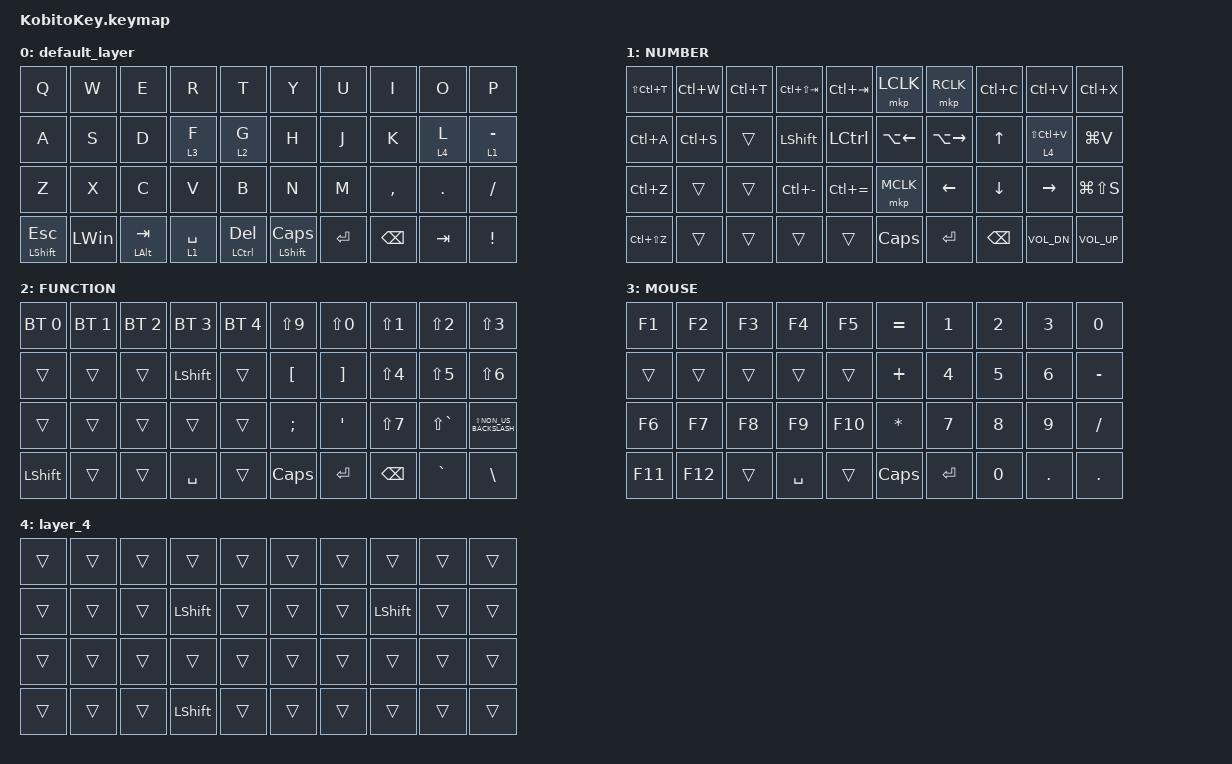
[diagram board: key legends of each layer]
#include <input/processors.dtsi>
#include <behaviors.dtsi>
#include <dt-bindings/zmk/bt.h>
#include <dt-bindings/zmk/keys.h>
#include <dt-bindings/zmk/pointing.h>

/ {
    combos {
        compatible = "zmk,combos";

        combo_eisu {
            timeout-ms = <50>;
            key-positions = <12 13>;
            bindings = <&kp LANG2>;
        };

        combo_kana {
            timeout-ms = <50>;
            key-positions = <16 17>;
            bindings = <&kp LANG1>;
        };

        combo_esc {
            timeout-ms = <50>;
            key-positions = <0 1>;
            bindings = <&kp ESC>;
        };

        combo_tab {
            timeout-ms = <50>;
            key-positions = <10 11>;
            bindings = <&kp TAB>;
        };
    };

    keymap {
        compatible = "zmk,keymap";

        default_layer {
            bindings = <
&kp Q                  &kp W         &kp E             &kp R        &kp T          &kp Y                    &kp U      &kp I          &kp O    &kp P
&kp A                  &kp S         &kp D             &lt 3 F      &lt 2 G        &kp H                    &kp J      &kp K          &lt 4 L  &lt 1 MINUS
&kp Z                  &kp X         &kp C             &kp V        &kp B          &kp N                    &kp M      &kp COMMA      &kp DOT  &kp SLASH
&mt LEFT_SHIFT ESCAPE  &kp LEFT_WIN  &mt LEFT_ALT TAB  &lt 1 SPACE  &mt LCTRL DEL  &mt LEFT_SHIFT CAPSLOCK  &kp ENTER  &kp BACKSPACE  &kp TAB  &kp EXCLAMATION
            >;
        };

        layer1 {
            label = "NUMBER";
            bindings = <
&kp LS(LC(T))  &kp LC(W)  &kp LC(T)  &kp LC(LS(TAB))  &kp LC(TAB)    &mkp LCLK           &mkp RCLK            &kp LC(C)      &kp LC(V)        &kp LC(X)
&kp LC(A)      &kp LC(S)  &trans     &kp LEFT_SHIFT   &kp LCTRL      &kp LA(LEFT_ARROW)  &kp LA(RIGHT_ARROW)  &kp UP_ARROW   &lt 4 LS(LC(V))  &kp LG(V)
&kp LC(Z)      &trans     &trans     &kp LC(MINUS)    &kp LC(EQUAL)  &mkp MCLK           &kp LEFT             &kp DOWN       &kp RIGHT        &kp LG(LS(S))
&kp LC(LS(Z))  &trans     &trans     &trans           &trans         &kp CAPSLOCK        &kp ENTER            &kp BACKSPACE  &kp C_VOL_DN     &kp C_VOL_UP
            >;
        };

        layer2 {
            label = "FUNCTION";
            bindings = <
&bt BT_SEL 0    &bt BT_SEL 1  &bt BT_SEL 2  &bt BT_SEL 3    &bt BT_SEL 4  &kp LS(N9)        &kp LS(N0)         &kp LS(NUMBER_1)  &kp LS(NUMBER_2)  &kp LS(NUMBER_3)
&trans          &trans        &trans        &kp LEFT_SHIFT  &trans        &kp LEFT_BRACKET  &kp RIGHT_BRACKET  &kp LS(NUMBER_4)  &kp LS(N5)        &kp LS(NUMBER_6)
&trans          &trans        &trans        &trans          &trans        &kp SEMICOLON     &kp SQT            &kp LS(N7)        &kp LS(GRAVE)     &kp LS(NON_US_BACKSLASH)
&kp LEFT_SHIFT  &trans        &trans        &kp SPACE       &trans        &kp CAPSLOCK      &kp ENTER          &kp BACKSPACE     &kp GRAVE         &kp BACKSLASH
            >;
        };

        layer3 {
            label = "MOUSE";
            bindings = <
&kp F1   &kp F2   &kp F3  &kp F4     &kp F5   &kp EQUAL     &kp NUMBER_1  &kp NUMBER_2  &kp NUMBER_3  &kp NUMBER_0
&trans   &trans   &trans  &trans     &trans   &kp PLUS      &kp NUMBER_4  &kp NUMBER_5  &kp NUMBER_6  &kp MINUS
&kp F6   &kp F7   &kp F8  &kp F9     &kp F10  &kp ASTERISK  &kp NUMBER_7  &kp NUMBER_8  &kp NUMBER_9  &kp SLASH
&kp F11  &kp F12  &trans  &kp SPACE  &trans   &kp CAPSLOCK  &kp ENTER     &kp NUMBER_0  &kp PERIOD    &kp PERIOD
            >;
        };

        layer_4 {
            bindings = <
&trans  &trans  &trans  &trans          &trans  &trans  &trans  &trans          &trans  &trans
&trans  &trans  &trans  &kp LEFT_SHIFT  &trans  &trans  &trans  &kp LEFT_SHIFT  &trans  &trans
&trans  &trans  &trans  &trans          &trans  &trans  &trans  &trans          &trans  &trans
&trans  &trans  &trans  &kp LEFT_SHIFT  &trans  &trans  &trans  &trans          &trans  &trans
            >;
        };
    };
};
